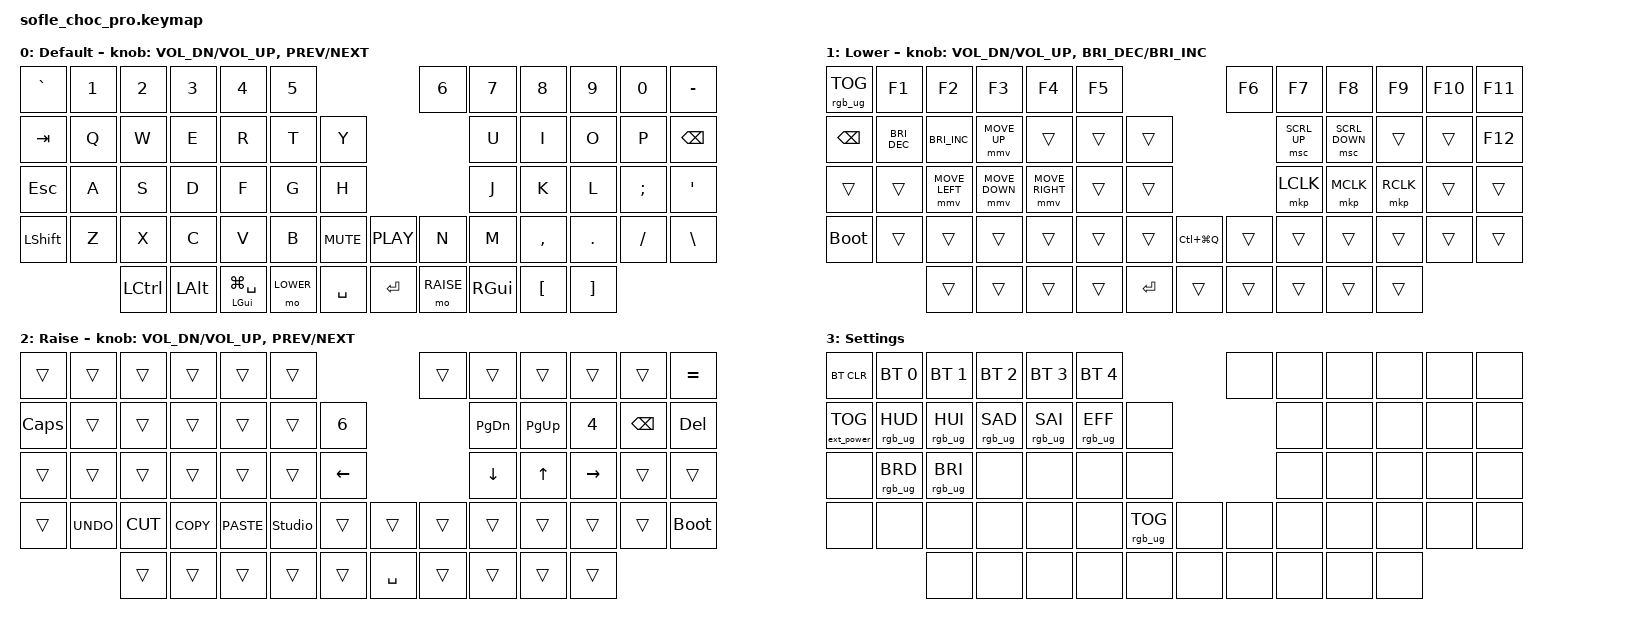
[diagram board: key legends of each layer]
/*
* Copyright (c) 2020 The ZMK Contributors
*
* SPDX-License-Identifier: MIT
*/

#include <behaviors.dtsi>
#include <dt-bindings/zmk/bt.h>
#include <dt-bindings/zmk/ext_power.h>
#include <dt-bindings/zmk/keys.h>
#include <dt-bindings/zmk/pointing.h>
#include <dt-bindings/zmk/rgb.h>

#define BASE 0
#define LOWER 1
#define RAISE 2
#define ADJUST 3

/ {
    // Activate ADJUST layer by pressing raise and lower

    conditional_layers {
        compatible = "zmk,conditional-layers";

        adjust_layer {
            if-layers = <LOWER RAISE>;
            then-layer = <ADJUST>;
        };
    };

    combos {
        compatible = "zmk,combos";

        Left_bracket {
            bindings = <&kp LEFT_BRACKET>;
            key-positions = <20 21>;
            layers = <0>;
            timeout-ms = <25>;
        };

        Right_bracket {
            bindings = <&kp RIGHT_BRACKET>;
            key-positions = <21 22>;
            layers = <0>;
            timeout-ms = <25>;
        };

        Left_parenthesis {
            bindings = <&kp LEFT_PARENTHESIS>;
            key-positions = <32 33>;
            layers = <0>;
            timeout-ms = <25>;
        };

        Right_parenthesis {
            bindings = <&kp RIGHT_PARENTHESIS>;
            key-positions = <33 34>;
            timeout-ms = <25>;
            layers = <0>;
        };
    };

    keymap {
        compatible = "zmk,keymap";

        default_layer {
            display-name = "Default";

            // ------------------------------------------------------------------------------------------------------------
            // |   `   |  1  |  2  |  3   |  4   |  5   |                   |  6   |  7    |  8    |  9   |   0   |   `   |
            // |  ESC  |  Q  |  W  |  E   |  R   |  T   |                   |  Y   |  U    |  I    |  O   |   P   | BKSPC |
            // |  TAB  |  A  |  S  |  D   |  F   |  G   |                   |  H   |  J    |  K    |  L   |   ;   |   '   |
            // | SHIFT |  Z  |  X  |  C   |  V   |  B   |  MUTE  |  | PLAY  |  N   |  M    |  ,    |  .   |   /   | SHIFT |
            //               | GUI | ALT  | CTRL | LOWER|  ENTER |  | SPACE | RAISE| CTRL  | ALT   | GUI  |

            bindings = <
&kp GRAVE  &kp N1  &kp N2            &kp N3    &kp N4                  &kp N5                             &kp N6     &kp N7         &kp N8            &kp N9             &kp N0    &kp MINUS
&kp TAB    &kp Q   &kp W             &kp E     &kp R                   &kp T      &kp Y                              &kp U          &kp I             &kp O              &kp P     &kp BSPC
&kp ESC    &kp A   &kp S             &kp D     &kp F                   &kp G      &kp H                              &kp J          &kp K             &kp L              &kp SEMI  &kp SQT
&kp LSHFT  &kp Z   &kp X             &kp C     &kp V                   &kp B      &kp C_MUTE  &kp C_PLAY  &kp N      &kp M          &kp COMMA         &kp DOT            &kp FSLH  &kp BACKSLASH
                   &kp LEFT_CONTROL  &kp LALT  &mt LEFT_GUI LG(SPACE)  &mo LOWER  &kp SPACE   &kp ENTER   &mo RAISE  &kp RIGHT_GUI  &kp LEFT_BRACKET  &kp RIGHT_BRACKET
            >;

            sensor-bindings = <&inc_dec_kp C_VOL_DN C_VOL_UP &inc_dec_kp C_PREV C_NEXT>;
        };

        lower_layer {
            display-name = "Lower";

            // ------------------------------------------------------------------------------------------------------------
            // |       |  F1 |  F2 |  F3  |  F4  |  F5  |                   |  F6  |  F7   |  F8   |  F9  |  F10  |  F11  |
            // |   `   |  1  |  2  |  3   |  4   |  5   |                   |  6   |  7    |  8    |  9   |   0   |  F12  |
            // |       |  !  |  @  |  #   |  $   |  %   |                   |  ^   |  &    |  *    |  (   |   )   |   |   |
            // |       |  =  |  -  |  +   |  {   |  }   |        |  |       |  [   |  ]    |  ;    |  :   |   \   |       |
            //               |     |      |      |      |        |  |       |      |       |       |      |

            bindings = <
&rgb_ug RGB_TOG  &kp F1                &kp F2                &kp F3          &kp F4           &kp F5                            &kp F6  &kp F7        &kp F8          &kp F9     &kp F10  &kp F11
&kp BSPC         &kp C_BRIGHTNESS_DEC  &kp C_BRIGHTNESS_INC  &mmv MOVE_UP    &trans           &trans  &trans                            &msc SCRL_UP  &msc SCRL_DOWN  &trans     &trans   &kp F12
&trans           &trans                &mmv MOVE_LEFT        &mmv MOVE_DOWN  &mmv MOVE_RIGHT  &trans  &trans                            &mkp LCLK     &mkp MCLK       &mkp RCLK  &trans   &trans
&bootloader      &trans                &trans                &trans          &trans           &trans  &trans     &kp LC(LG(Q))  &trans  &trans        &trans          &trans     &trans   &trans
                                       &trans                &trans          &trans           &trans  &kp ENTER  &trans         &trans  &trans        &trans          &trans
            >;

            sensor-bindings =
                <&inc_dec_kp C_VOL_DN C_VOL_UP>,
                <&inc_dec_kp C_BRIGHTNESS_DEC C_BRIGHTNESS_INC>;
        };

        raise_layer {
            display-name = "Raise";

            // ------------------------------------------------------------------------------------------------------------
            // | BTCLR | BT1  | BT2  |  BT3  |  BT4  |  BT5 |                |      |      |       |      |       |       |
            // |       | INS  | PSCR | GUI   |       |      |                | PGUP |      |   ^   |      |       |       |
            // |       | ALT  | CTRL | SHIFT |       | CAPS |                | PGDN |   <- |   v   |  ->  |  DEL  | BKSPC |
            // |       | UNDO | CUT  | COPY  | PASTE |      |      |  |      |      |      |       |      |       |       |
            //                |      |       |       |      |      |  |      |      |      |       |      |

            bindings = <
&trans    &trans      &trans     &trans      &trans       &trans                                     &trans  &trans          &trans        &trans        &trans         &kp EQUAL
&kp CAPS  &trans      &trans     &trans      &trans       &trans          &kp NUMBER_6                       &kp PAGE_DOWN   &kp PAGE_UP   &kp NUMBER_4  &kp BACKSPACE  &kp DELETE
&trans    &trans      &trans     &trans      &trans       &trans          &kp LEFT_ARROW                     &kp DOWN_ARROW  &kp UP_ARROW  &kp RIGHT     &trans         &trans
&trans    &kp K_UNDO  &kp K_CUT  &kp K_COPY  &kp K_PASTE  &studio_unlock  &trans          &trans     &trans  &trans          &trans        &trans        &trans         &bootloader
                      &trans     &trans      &trans       &trans          &trans          &kp SPACE  &trans  &trans          &trans        &trans
            >;

            sensor-bindings = <&inc_dec_kp C_VOL_DN C_VOL_UP &inc_dec_kp C_PREV C_NEXT>;
        };

        adjust_layer {
            // ----------------------------------------------------------------------------------------------------------------------------
            // | BTCLR  |  BT1    |  BT2    |   BT3   |   BT4   |   BT5   |                  |      |      |       |      |       |       |
            // | EXTPWR | RGB_HUD | RGB_HUI | RGB_SAD | RGB_SAI | RGB_EFF |                  |      |      |       |      |       |       |
            // |        | RGB_BRD | RGB_BRI |         |         |         |                  |      |      |       |      |       |       |
            // |        |         |         |         |         |         | RGB_TOG | |      |      |      |       |      |       |       |
            //                    |         |         |         |         |         | |      |      |      |       |      |

            display-name = "Settings";
            bindings = <
&bt BT_CLR         &bt BT_SEL 0     &bt BT_SEL 1     &bt BT_SEL 2     &bt BT_SEL 3     &bt BT_SEL 4                             &none  &none  &none  &none  &none  &none
&ext_power EP_TOG  &rgb_ug RGB_HUD  &rgb_ug RGB_HUI  &rgb_ug RGB_SAD  &rgb_ug RGB_SAI  &rgb_ug RGB_EFF  &none                          &none  &none  &none  &none  &none
&none              &rgb_ug RGB_BRD  &rgb_ug RGB_BRI  &none            &none            &none            &none                          &none  &none  &none  &none  &none
&none              &none            &none            &none            &none            &none            &rgb_ug RGB_TOG  &none  &none  &none  &none  &none  &none  &none
                                    &none            &none            &none            &none            &none            &none  &none  &none  &none  &none
            >;
        };
    };
};
